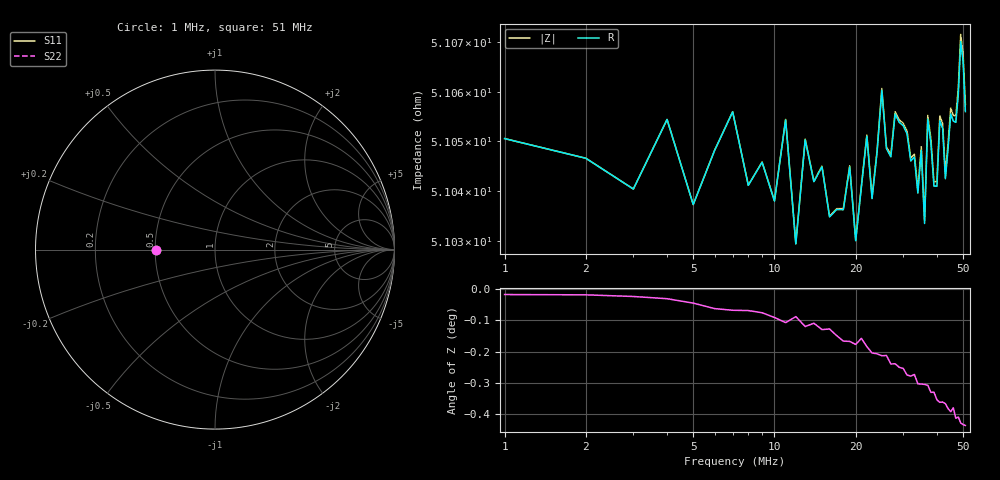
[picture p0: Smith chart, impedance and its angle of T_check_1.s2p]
# MHz S RI R 50
! S-Parameters data
! Freq  reS11  imS11  reS21  imS21  reS12  imS12  reS22  imS22
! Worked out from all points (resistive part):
!   51 points, 1 MHz to 51 MHz, reference 50 ohm
!   read as one part in shunt: R = 51.1 ohm at 1 MHz
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1  -0.3288 -9.16e-05  0.6713 -6.1e-05  0.6714 -9.16e-05  -0.3288 -4.58e-05
2  -0.3289 -0.000122  0.6714 -3.05e-05  0.6714 -6.1e-05  -0.3289 -0.000107
10  -0.3289 -0.000198  0.6712 -0.000427  0.6714 -0.00058  -0.3288 -0.000229
11  -0.3288 -0.000229  0.6714 -0.00058  0.6714 -0.000519  -0.3289 -0.000214
12  -0.3289 -0.000244  0.6712 -0.000427  0.6713 -0.000519  -0.3289 -0.000168
13  -0.3289 -0.000214  0.6714 -0.00061  0.6714 -0.000702  -0.3289 -0.00029
16  -0.3288 -0.000259  0.6712 -0.000702  0.6713 -0.000641  -0.3289 -0.000229
18  -0.3288 -0.000259  0.6712 -0.000946  0.6713 -0.000977  -0.3288 -0.000244
20  -0.3287 -0.000305  0.6711 -0.000977  0.6714 -0.000977  -0.3289 -0.00032
21  -0.3288 -0.000244  0.6713 -0.000916  0.6711 -0.000854  -0.3288 -0.000229
23  -0.3288 -0.000427  0.6712 -0.0011  0.6714 -0.0011  -0.3289 -0.000366
26  -0.3287 -0.000473  0.6713 -0.00113  0.6714 -0.00116  -0.3289 -0.000366
29  -0.3288 -0.000519  0.6714 -0.00134  0.6714 -0.00143  -0.3289 -0.000412
31  -0.3286 -0.000504  0.6712 -0.00156  0.6713 -0.00156  -0.3288 -0.000366
32  -0.3287 -0.000519  0.6712 -0.00159  0.6713 -0.00143  -0.3288 -0.000412
34  -0.3287 -0.000595  0.6712 -0.00171  0.6714 -0.00171  -0.3289 -0.000381
35  -0.3287 -0.000519  0.6713 -0.00174  0.6713 -0.00159  -0.3288 -0.000473
36  -0.3286 -0.000534  0.6711 -0.00174  0.6713 -0.0018  -0.3288 -0.000366
37  -0.3286 -0.00061  0.6712 -0.00168  0.6713 -0.00183  -0.3288 -0.000443
43  -0.3285 -0.000793  0.6711 -0.00201  0.6713 -0.00198  -0.3287 -0.000534
49  -0.3285 -0.000793  0.6714 -0.00244  0.6713 -0.00235  -0.3287 -0.000565
51  -0.3285 -0.000946  0.6712 -0.00244  0.6712 -0.00232  -0.3288 -0.000565
